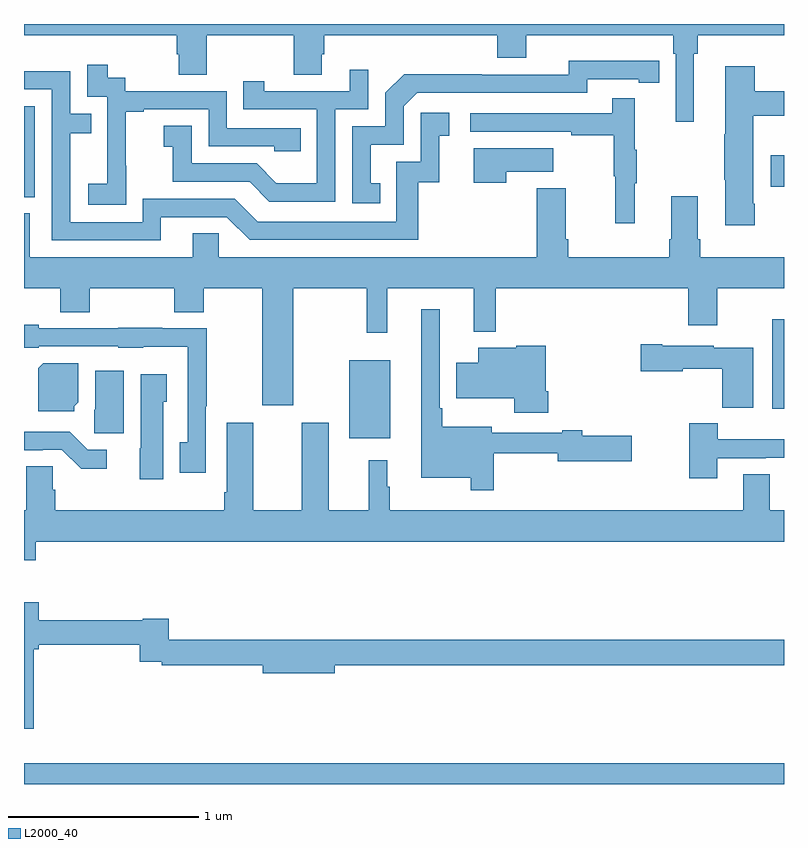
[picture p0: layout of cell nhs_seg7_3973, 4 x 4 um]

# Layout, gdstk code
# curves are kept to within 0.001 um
import gdstk
lib = gdstk.Library(unit=1e-6, precision=1e-09)
def R(c, l, rs):  # rectangles x0, y0, x1, y1
    for r in rs: c.add(gdstk.rectangle(r[:2], r[2:], *l))
def P(c, l, *ps):  # polygons
    for p in ps: c.add(gdstk.Polygon(p, *l))
L2000_40 = (2000, 40)

nhs_seg7_3973 = lib.new_cell('nhs_seg7_3973')
R(nhs_seg7_3973, L2000_40, [(363,1006,367,1006.108), (364.712,1007.819,364.927,1008.229), (366.938,1007.976,367,1008.445), (363,1009.089,363.057,1009.566), (366.93,1009.144,367,1009.309)])
P(nhs_seg7_3973, L2000_40, [(366.526,1009.844),(366.545,1009.844),(366.545,1009.94),(367,1009.94),(367,1010),(363,1010),(363,1009.94),(363.803,1009.94),(363.803,1009.842),(363.815,1009.842),(363.815,1009.732),(363.963,1009.732),(363.963,1009.94),(364.42,1009.94),(364.42,1009.732),(364.567,1009.732),(364.567,1009.842),(364.58,1009.842),(364.58,1009.94),(365.492,1009.94),(365.492,1009.823),(365.644,1009.823),(365.644,1009.94),(366.416,1009.94),(366.416,1009.844),(366.429,1009.844),(366.429,1009.485),(366.526,1009.485)],
  [(364.874,1009.161),(364.825,1009.161),(364.825,1009.365),(364.998,1009.365),(364.998,1009.566),(365.07,1009.638),(365.964,1009.638),(365.964,1009.71),(366.236,1009.71),(366.236,1009.69),(366.344,1009.69),(366.344,1009.806),(365.868,1009.807),(365.868,1009.734),(365.408,1009.734),(365.408,1009.736),(365,1009.736),(364.902,1009.638),(364.902,1009.461),(364.728,1009.461),(364.728,1009.056),(364.874,1009.056)],
  [(363.537,1009.255),(363.536,1009.255),(363.536,1009.539),(363.631,1009.539),(363.631,1009.551),(363.972,1009.551),(363.972,1009.356),(364.317,1009.356),(364.317,1009.329),(364.457,1009.329),(364.457,1009.452),(364.068,1009.452),(364.068,1009.647),(363.534,1009.647),(363.534,1009.716),(363.442,1009.716),(363.442,1009.786),(363.333,1009.786),(363.333,1009.617),(363.438,1009.617),(363.438,1009.388),(363.437,1009.388),(363.437,1009.159),(363.339,1009.159),(363.339,1009.049),(363.537,1009.049)],
  [(366.846,1009.054),(366.838,1009.054),(366.838,1009.517),(367,1009.517),(367,1009.647),(366.846,1009.647),(366.846,1009.777),(366.692,1009.777),(366.692,1009.421),(366.685,1009.421),(366.685,1009.18),(366.692,1009.18),(366.692,1008.942),(366.846,1008.942)],
  [(364.638,1009.551),(364.812,1009.551),(364.812,1009.759),(364.715,1009.759),(364.715,1009.647),(364.264,1009.647),(364.264,1009.699),(364.153,1009.699),(364.153,1009.551),(364.542,1009.551),(364.542,1009.162),(364.328,1009.162),(364.224,1009.266),(363.882,1009.266),(363.882,1009.465),(363.735,1009.465),(363.735,1009.355),(363.784,1009.355),(363.784,1009.17),(364.187,1009.17),(364.292,1009.065),(364.638,1009.065)],
  [(363.721,1008.984),(364.068,1008.984),(364.188,1008.864),(365.075,1008.864),(365.075,1009.167),(365.186,1009.167),(365.186,1009.413),(365.239,1009.413),(365.239,1009.534),(365.088,1009.534),(365.088,1009.275),(364.959,1009.275),(364.959,1008.96),(364.23,1008.96),(364.11,1009.08),(363.624,1009.08),(363.624,1008.957),(363.243,1008.957),(363.243,1009.426),(363.353,1009.426),(363.353,1009.527),(363.243,1009.527),(363.243,1009.752),(363,1009.752),(363,1009.656),(363.147,1009.656),(363.147,1008.861),(363.721,1008.861)],
  [(366.215,1009.163),(366.226,1009.163),(366.226,1009.337),(366.215,1009.337),(366.215,1009.609),(366.097,1009.609),(366.097,1009.53),(365.349,1009.53),(365.349,1009.434),(365.881,1009.434),(365.881,1009.414),(366.105,1009.414),(366.105,1009.2),(366.112,1009.2),(366.112,1008.951),(366.215,1008.951)],
  [(365.537,1009.223),(365.785,1009.223),(365.785,1009.345),(365.366,1009.345),(365.366,1009.164),(365.537,1009.164)],
  [(363.031,1009.004),(363,1009.004),(363,1008.608),(363.19,1008.608),(363.19,1008.484),(363.345,1008.484),(363.345,1008.608),(363.79,1008.608),(363.79,1008.484),(363.945,1008.484),(363.945,1008.608),(364.253,1008.608),(364.253,1007.994),(364.417,1007.994),(364.417,1008.608),(364.803,1008.608),(364.803,1008.375),(364.913,1008.375),(364.913,1008.608),(365.366,1008.608),(365.366,1008.38),(365.483,1008.38),(365.483,1008.608),(366.497,1008.608),(366.497,1008.414),(366.649,1008.414),(366.649,1008.608),(367,1008.608),(367,1008.772),(366.56,1008.772),(366.56,1008.868),(366.547,1008.868),(366.547,1009.093),(366.407,1009.093),(366.407,1008.868),(366.395,1008.868),(366.395,1008.772),(365.864,1008.772),(365.864,1008.868),(365.851,1008.868),(365.851,1009.135),(365.699,1009.135),(365.699,1008.772),(364.026,1008.772),(364.026,1008.899),(363.887,1008.899),(363.887,1008.772),(363.031,1008.772)],
  [(365.473,1007.742),(365.81,1007.742),(365.81,1007.699),(366.199,1007.699),(366.199,1007.834),(365.938,1007.834),(365.938,1007.863),(365.834,1007.863),(365.834,1007.85),(365.461,1007.85),(365.461,1007.881),(365.2,1007.881),(365.2,1007.977),(365.187,1007.977),(365.187,1008.499),(365.09,1008.499),(365.09,1007.612),(365.352,1007.612),(365.352,1007.547),(365.473,1007.547)],
  [(363.957,1007.989),(363.962,1007.989),(363.962,1008.399),(363.727,1008.399),(363.727,1008.401),(363.495,1008.401),(363.495,1008.399),(363.078,1008.399),(363.078,1008.418),(363,1008.418),(363,1008.296),(363.078,1008.296),(363.078,1008.303),(363.495,1008.303),(363.495,1008.296),(363.627,1008.296),(363.627,1008.302),(363.861,1008.302),(363.861,1007.798),(363.821,1007.798),(363.821,1007.637),(363.957,1007.637)],
  [(366.838,1008.295),(366.63,1008.295),(366.63,1008.307),(366.358,1008.307),(366.358,1008.315),(366.246,1008.315),(366.246,1008.173),(366.468,1008.173),(366.468,1008.185),(366.676,1008.185),(366.676,1007.981),(366.838,1007.981)],
  [(365.759,1008.067),(365.746,1008.067),(365.746,1008.307),(365.592,1008.307),(365.592,1008.295),(365.39,1008.295),(365.39,1008.217),(365.276,1008.217),(365.276,1008.029),(365.581,1008.029),(365.581,1007.955),(365.759,1007.955)],
  [(363.264,1007.988),(363.286,1008.01),(363.286,1008.214),(363.1,1008.214),(363.074,1008.188),(363.074,1007.963),(363.264,1007.963)],
  [(363.526,1008.175),(363.374,1008.175),(363.374,1007.97),(363.37,1007.97),(363.37,1007.847),(363.526,1007.847)],
  [(363.733,1008.012),(363.751,1008.012),(363.751,1008.157),(363.614,1008.157),(363.614,1007.766),(363.608,1007.766),(363.608,1007.604),(363.733,1007.604)],
  [(363.062,1007.276),(367,1007.276),(367,1007.44),(366.925,1007.44),(366.925,1007.63),(366.785,1007.63),(366.785,1007.44),(364.924,1007.44),(364.924,1007.564),(364.912,1007.564),(364.912,1007.704),(364.814,1007.704),(364.814,1007.44),(364.603,1007.44),(364.603,1007.902),(364.463,1007.902),(364.463,1007.44),(364.207,1007.44),(364.207,1007.902),(364.067,1007.902),(364.067,1007.536),(364.055,1007.536),(364.055,1007.44),(363.164,1007.44),(363.164,1007.55),(363.15,1007.55),(363.15,1007.672),(363.011,1007.672),(363.011,1007.44),(363,1007.44),(363,1007.177),(363.062,1007.177)],
  [(366.649,1007.715),(366.905,1007.715),(366.905,1007.718),(367,1007.718),(367,1007.815),(366.652,1007.815),(366.652,1007.899),(366.502,1007.899),(366.502,1007.61),(366.649,1007.61)],
  [(363.436,1007.76),(363.336,1007.76),(363.242,1007.854),(363,1007.854),(363,1007.757),(363.098,1007.757),(363.098,1007.76),(363.198,1007.76),(363.301,1007.658),(363.436,1007.658)],
  [(363.05,1006.709),(363.077,1006.709),(363.077,1006.732),(363.608,1006.732),(363.608,1006.644),(363.724,1006.644),(363.724,1006.624),(364.256,1006.624),(364.256,1006.582),(364.636,1006.582),(364.636,1006.624),(367,1006.624),(367,1006.76),(363.761,1006.76),(363.761,1006.869),(363.624,1006.869),(363.624,1006.861),(363.077,1006.861),(363.077,1006.956),(363,1006.956),(363,1006.29),(363.05,1006.29)])

lib.write_gds('nhs_seg7_3973.gds')
